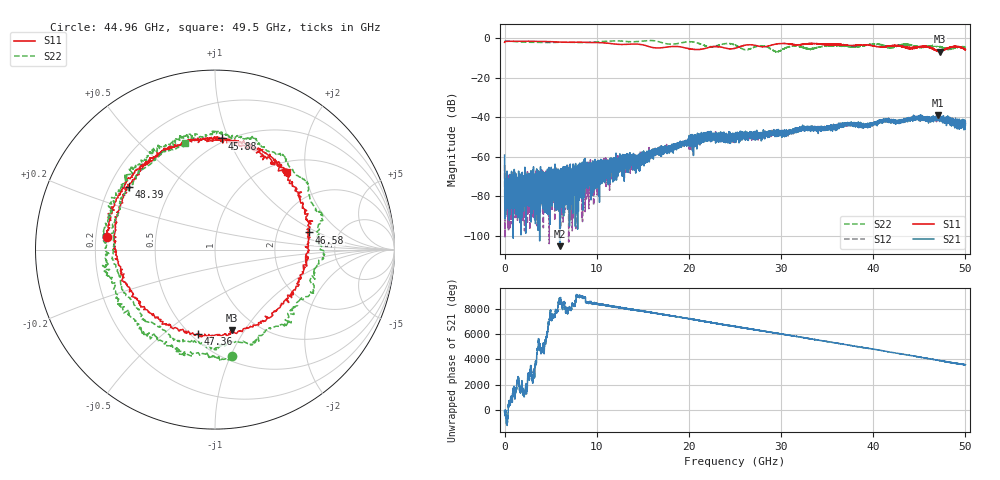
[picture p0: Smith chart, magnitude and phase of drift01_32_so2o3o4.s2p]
!Created with skrf (http://scikit-rf.org).
# Hz S RI R 50.0
!freq ReS11 ImS11 ReS21 ImS21 ReS12 ImS12 ReS22 ImS22
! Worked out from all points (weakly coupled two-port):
!   10001 points, 300 kHz to 50 GHz, reference 50 ohm
!   highest |S21| = -38.79 dB at 47.04 GHz (marker M1); lowest = -105.3 dB at 5.98 GHz (marker M2)
!   lowest |S11| = -6.8 dB at 47.2 GHz (marker M3), VSWR 2.69, Z = 38.7 - j43.8 ohm
!   |S11| at or under -10 dB: nowhere
!   |S22| runs from -6.9 to -1.0 dB; largest |S21 - S12| = 0.0038
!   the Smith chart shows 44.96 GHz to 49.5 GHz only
!   S11 on the Smith chart (normalised r, x): 44.96 GHz: 0.24, +0.06; 45.88 GHz: 0.47, +0.95; 46.58 GHz: 3.03, +0.81; 47.36 GHz: 0.54, -0.66; 48.39 GHz: 0.28, +0.30; 49.5 GHz: 1.19, +1.59
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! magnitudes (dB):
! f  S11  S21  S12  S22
! 300 kHz  -2.1  -59.2  -64.2  -1.3
! 255.3 MHz  -1.4  -71.5  -79.5  -1.4
! 5.98 GHz  -1.9  -105.3  -71.6  -1.9
! 8.335 GHz  -1.9  -71.1  -70.9  -2.1
! 16.67 GHz  -4.8  -57.0  -55.8  -1.6
! 21.69 GHz  -5.2  -51.4  -50.8  -3.5
! 25 GHz  -5.0  -52.3  -49.2  -3.4
! 26.18 GHz  -3.4  -48.5  -49.4  -5.7
! 28.09 GHz  -4.3  -50.0  -48.9  -3.8
! 29.52 GHz  -2.8  -48.4  -48.8  -6.7
! 31.3 GHz  -3.1  -46.1  -47.7  -3.9
! 33.34 GHz  -2.6  -45.3  -45.3  -5.5
! 41.67 GHz  -3.9  -41.6  -41.2  -4.5
! 44.96 GHz  -4.3  -41.1  -40.3  -4.4
! 45.88 GHz  -4.1  -40.5  -40.2  -4.0
! 46.58 GHz  -5.5  -40.7  -40.6  -3.8
! 47.04 GHz  -6.4  -38.8  -40.5  -4.2
! 47.2 GHz  -6.8  -41.2  -39.8  -4.4
! 47.36 GHz  -6.4  -41.4  -40.1  -4.6
! 48.39 GHz  -4.5  -40.2  -42.4  -5.4
! 49.5 GHz  -4.6  -42.2  -41.8  -4.2
! 50 GHz  -5.7  -43.8  -42.9  -4.2
